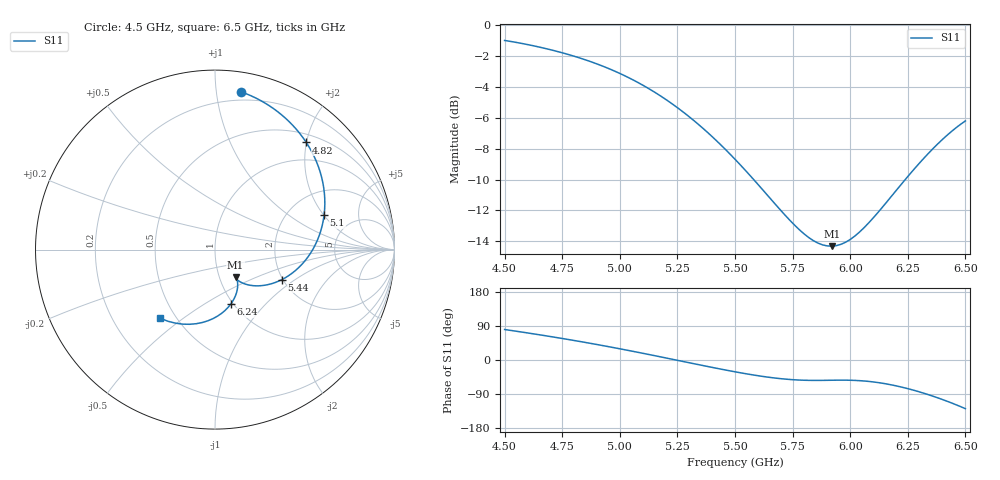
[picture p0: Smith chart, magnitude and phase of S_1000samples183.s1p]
! TOUCHSTONE file generated by CST MICROWAVE STUDIO
! Date and time: Thu Oct 27 07:10:16 2022
! Project name: L.cst
! Parameters = {Di=1.27; Epsilon_r=1.56; InnerDiameter=1.27; Length=2; Lf=10; Lg=60; OuterConductorThickness=0.2921; OuterDiameter=3.6; Wf=3; Wp=41.2; de=1.5; df=6.8; g=0.8; gx=1.09424; gy=3.18225; h=2.34; hf=1.524; px=10.8868; py=8.66654; w=9.7; wx=9.79252; wy=5.48429}
! Header version: 2018
! Port assignment regex: !\s*Touchstone port\s*([0-9]+)\s*=\s*(CST MWS port|CST DS port)\s*([0-9]+|Zmin|Zmax)\s*\(\"(.*)\"\)(\s*mode\s*([0-9]+))?.*
! Touchstone port assignment:
! Touchstone port 1 = CST MWS port 1 ("")
# GHz S DB R 50
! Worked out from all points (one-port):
!   101 points, 4.5 GHz to 6.5 GHz, reference 50 ohm
!   lowest |S11| = -14.3 dB at 5.92 GHz (marker M1), VSWR 1.48, Z = 59.6 - j19.1 ohm
!   |S11| at or under -10 dB: 5.581 GHz to 6.239 GHz (658.2 MHz wide, 11.1 % of centre)
!   S11 on the Smith chart (normalised r, x): 4.5 GHz: 0.14, +1.17; 4.82 GHz: 0.64, +2.00; 5.1 GHz: 3.10, +2.03; 5.44 GHz: 1.97, -0.79; 6.24 GHz: 0.97, -0.66; 6.5 GHz: 0.41, -0.41
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4.5  -1.01 80.5
4.62  -1.34 69.5
4.68  -1.54 63.8
4.76  -1.85 55.8
4.82  -2.11 49.6
4.92  -2.63 38.7
5  -3.14 29.6
5.1  -3.90 17.7
5.18  -4.63 7.9
5.26  -5.46 -2.1
5.36  -6.68 -14.5
5.44  -7.78 -24.2
5.5  -8.69 -31.1
5.56  -9.65 -37.6
5.64  -11.00 -45.0
5.76  -12.97 -52.3
5.84  -13.95 -53.8
5.92  -14.31 -53.4
6  -13.88 -53.5
6.06  -13.12 -55.4
6.14  -11.79 -61.3
6.2  -10.70 -68.3
6.24  -9.98 -74.0
6.26  -9.63 -77.2
6.32  -8.62 -87.8
6.4  -7.41 -104.2
6.46  -6.65 -118.2
6.5  -6.21 -128.5
